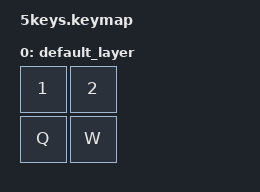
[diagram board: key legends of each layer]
#include <behaviors.dtsi>
#include <dt-bindings/zmk/bt.h>
#include <dt-bindings/zmk/keys.h>

/ {
    keymap {
        compatible = "zmk,keymap";

        default_layer { //デフォルトレイヤー(レイヤー0)
            bindings = <
                &kp N1      &kp N2
                &kp Q       &kp W
            >;
        };
    };
};
